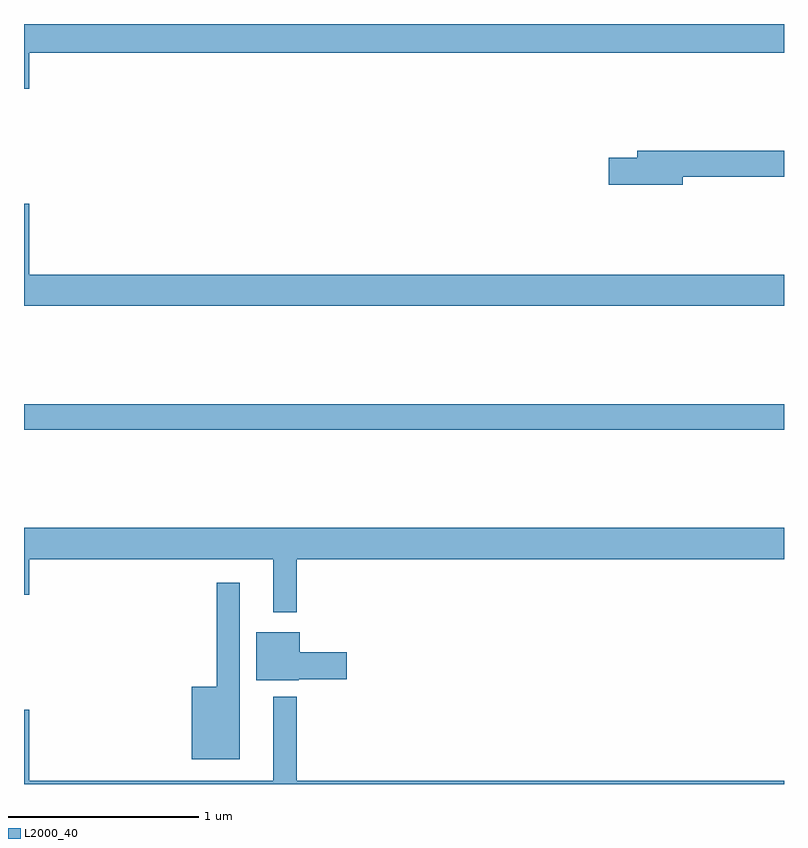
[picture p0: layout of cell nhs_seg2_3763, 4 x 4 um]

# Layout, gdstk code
import gdstk
lib = gdstk.Library(unit=1e-6, precision=1e-09)
def R(c, l, rs):  # rectangles x0, y0, x1, y1
    for r in rs: c.add(gdstk.rectangle(r[:2], r[2:], *l))
def P(c, l, *ps):  # polygons
    for p in ps: c.add(gdstk.Polygon(p, *l))
L2000_40 = (2000, 40)

nhs_seg2_3763 = lib.new_cell('nhs_seg2_3763')
R(nhs_seg2_3763, L2000_40, [(309,633.664,313,633.8)])
P(nhs_seg2_3763, L2000_40, [(309.028,635.648),(313,635.648),(313,635.8),(309,635.8),(309,635.46),(309.028,635.46)],
  [(312.466,634.996),(313,634.996),(313,635.132),(312.227,635.132),(312.227,635.096),(312.078,635.096),(312.078,634.954),(312.466,634.954)],
  [(313,634.48),(309.028,634.48),(309.028,634.855),(309,634.855),(309,634.316),(313,634.316)],
  [(310.435,632.984),(313,632.984),(313,633.148),(309,633.148),(309,632.796),(309.028,632.796),(309.028,632.984),(310.313,632.984),(310.313,632.703),(310.435,632.703)],
  [(310.135,632.86),(310.014,632.86),(310.014,632.311),(309.884,632.311),(309.884,631.931),(310.135,631.931)],
  [(310.446,632.351),(310.699,632.351),(310.699,632.493),(310.45,632.493),(310.45,632.599),(310.223,632.599),(310.223,632.345),(310.446,632.345)],
  [(313,631.816),(310.435,631.816),(310.435,632.26),(310.313,632.26),(310.313,631.816),(309.028,631.816),(309.028,632.191),(309,632.191),(309,631.8),(313,631.8)])

lib.write_gds('nhs_seg2_3763.gds')
